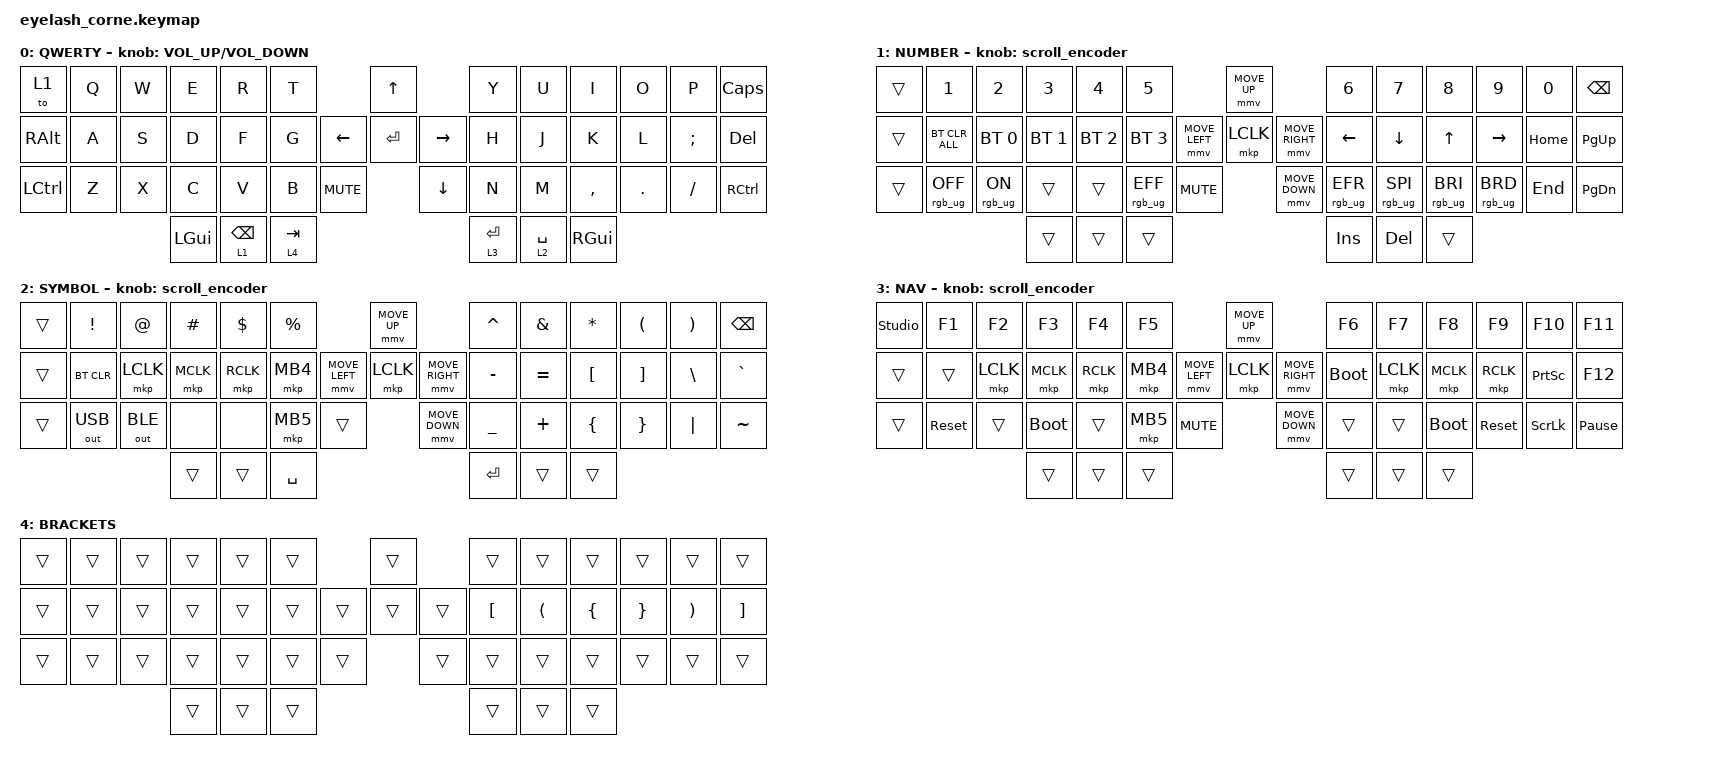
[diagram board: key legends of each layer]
#define ZMK_POINTING_DEFAULT_MOVE_VAL 1200  // 600
#define ZMK_POINTING_DEFAULT_SCRL_VAL 25   // 10

#include <input/processors.dtsi>
#include <zephyr/dt-bindings/input/input-event-codes.h>
#include <behaviors.dtsi>
#include <dt-bindings/zmk/bt.h>
#include <dt-bindings/zmk/keys.h>
#include <dt-bindings/zmk/outputs.h>
#include <dt-bindings/zmk/pointing.h>
#include <dt-bindings/zmk/rgb.h>

&mmv_input_listener { input-processors = <&zip_xy_scaler 2 1>; };

&msc_input_listener { input-processors = <&zip_scroll_scaler 2 1>; };

&msc {
    acceleration-exponent = <1>;      // 0
    time-to-max-speed-ms = <100>;       // 300
    delay-ms = <0>;                   // 0
};

&mmv {
    time-to-max-speed-ms = <500>;
    acceleration-exponent = <1>;
    trigger-period-ms = <16>;
};

/ {
    behaviors {
        td0: td0 {
            compatible = "zmk,behavior-tap-dance";
            display-name = "Shift/Caps Lock Tap Dance";
            #binding-cells = <0>;
            bindings = <&kp LEFT_SHIFT>, <&kp CAPS>;
        };

        mouse_KP: mouse_KP {
            compatible = "zmk,behavior-mouse-key-press";
            label = "MOUSE_KP";
            #binding-cells = <1>;
        };

        hold_tap: hold_tap {
            compatible = "zmk,behavior-hold-tap";
            label = "HOLD_TAP";
            bindings = <&none>, <&none>;

            #binding-cells = <2>;
            tapping-term-ms = <270>;
        };

        caps_word: caps_word {
            compatible = "zmk,behavior-caps-word";
            label = "CAPS_WORD";
            #binding-cells = <0>;
            continue-list = <SPACE>;
        };
    };

    rgb_encoder: rgb_encoder {
        compatible = "zmk,behavior-sensor-rotate";
        #sensor-binding-cells = <0>;
        bindings = <&rgb_ug RGB_BRI>, <&rgb_ug RGB_BRD>;
    };

    scroll_encoder: scroll_encoder {
        compatible = "zmk,behavior-sensor-rotate";
        #sensor-binding-cells = <0>;
        bindings = <&msc SCRL_DOWN>, <&msc SCRL_UP>;

        tap-ms = <100>;
    };

    combos {
        compatible = "zmk,combos";

        esc {
            bindings = <&kp ESCAPE>;
            key-positions = <14 26>;
        };
    };

    keymap {
        compatible = "zmk,keymap";

        default_layer {
            display-name = "QWERTY";
            bindings = <
&to 1      &kp Q  &kp W  &kp E     &kp R            &kp T                              &kp UP                &kp Y        &kp U        &kp I          &kp O    &kp P     &kp CAPSLOCK
&kp RALT   &kp A  &kp S  &kp D     &kp F            &kp G                    &kp LEFT  &kp ENTER  &kp RIGHT  &kp H        &kp J        &kp K          &kp L    &kp SEMI  &kp DEL
&kp LCTRL  &kp Z  &kp X  &kp C     &kp V            &kp B      &kp K_MUTE              &kp DOWN              &kp N        &kp M        &kp COMMA      &kp DOT  &kp FSLH  &kp RCTRL
                         &kp LGUI  &lt 1 BACKSPACE  &lt 4 TAB                                                &lt 3 ENTER  &lt 2 SPACE  &kp RIGHT_GUI
            >;

            sensor-bindings = <&inc_dec_kp C_VOLUME_UP C_VOLUME_DOWN>;
        };

        NUMBER {
            display-name = "NUMBER";
            bindings = <
&trans  &kp N1           &kp N2          &kp N3        &kp N4        &kp N5                                         &mmv MOVE_UP                     &kp N6           &kp N7           &kp N8           &kp N9           &kp N0    &kp BSPC
&trans  &bt BT_CLR_ALL   &bt BT_SEL 0    &bt BT_SEL 1  &bt BT_SEL 2  &bt BT_SEL 3                   &mmv MOVE_LEFT  &mkp LCLK       &mmv MOVE_RIGHT  &kp LEFT         &kp DOWN         &kp UP           &kp RIGHT        &kp HOME  &kp PG_UP
&trans  &rgb_ug RGB_OFF  &rgb_ug RGB_ON  &trans        &trans        &rgb_ug RGB_EFF  &kp C_MUTE                    &mmv MOVE_DOWN                   &rgb_ug RGB_EFR  &rgb_ug RGB_SPI  &rgb_ug RGB_BRI  &rgb_ug RGB_BRD  &kp END   &kp PG_DN
                                         &trans        &trans        &trans                                                                          &kp INS          &kp DEL          &trans
            >;

            sensor-bindings = <&scroll_encoder>;
            label = "NUMBER";
        };

        SYMBOL {
            display-name = "SYMBOL";
            bindings = <
&trans  &kp EXCL      &kp AT        &kp HASH   &kp DLLR   &kp PRCNT                            &mmv MOVE_UP                     &kp CARET  &kp AMPS   &kp ASTRK  &kp LPAR  &kp RPAR  &kp BSPC
&trans  &bt BT_CLR    &mkp LCLK     &mkp MCLK  &mkp RCLK  &mkp MB4             &mmv MOVE_LEFT  &mkp LCLK       &mmv MOVE_RIGHT  &kp MINUS  &kp EQUAL  &kp LBKT   &kp RBKT  &kp BSLH  &kp GRAVE
&trans  &out OUT_USB  &out OUT_BLE  &none      &none      &mkp MB5   &trans                    &mmv MOVE_DOWN                   &kp UNDER  &kp PLUS   &kp LBRC   &kp RBRC  &kp PIPE  &kp TILDE
                                    &trans     &trans     &kp SPACE                                                             &kp RET    &trans     &trans
            >;

            sensor-bindings = <&scroll_encoder>;
        };

        NAV {
            display-name = "NAV";
            bindings = <
&studio_unlock  &kp F1      &kp F2     &kp F3       &kp F4     &kp F5                                  &mmv MOVE_UP                     &kp F6       &kp F7     &kp F8       &kp F9      &kp F10          &kp F11
&trans          &trans      &mkp LCLK  &mkp MCLK    &mkp RCLK  &mkp MB4                &mmv MOVE_LEFT  &mkp LCLK       &mmv MOVE_RIGHT  &bootloader  &mkp LCLK  &mkp MCLK    &mkp RCLK   &kp PRINTSCREEN  &kp F12
&trans          &sys_reset  &trans     &bootloader  &trans     &mkp MB5  &kp C_MUTE                    &mmv MOVE_DOWN                   &trans       &trans     &bootloader  &sys_reset  &kp SCROLLLOCK   &kp PAUSE_BREAK
                                       &trans       &trans     &trans                                                                   &trans       &trans     &trans
            >;

            sensor-bindings = <&scroll_encoder>;
        };

        BRACKETS {
            bindings = <
&trans  &trans  &trans  &trans  &trans  &trans                    &trans          &trans            &trans                &trans          &trans           &trans                 &trans
&trans  &trans  &trans  &trans  &trans  &trans            &trans  &trans  &trans  &kp LEFT_BRACKET  &kp LEFT_PARENTHESIS  &kp LEFT_BRACE  &kp RIGHT_BRACE  &kp RIGHT_PARENTHESIS  &kp RIGHT_BRACKET
&trans  &trans  &trans  &trans  &trans  &trans  &trans            &trans          &trans            &trans                &trans          &trans           &trans                 &trans
                        &trans  &trans  &trans                                    &trans            &trans                &trans
            >;
        };
    };
};
